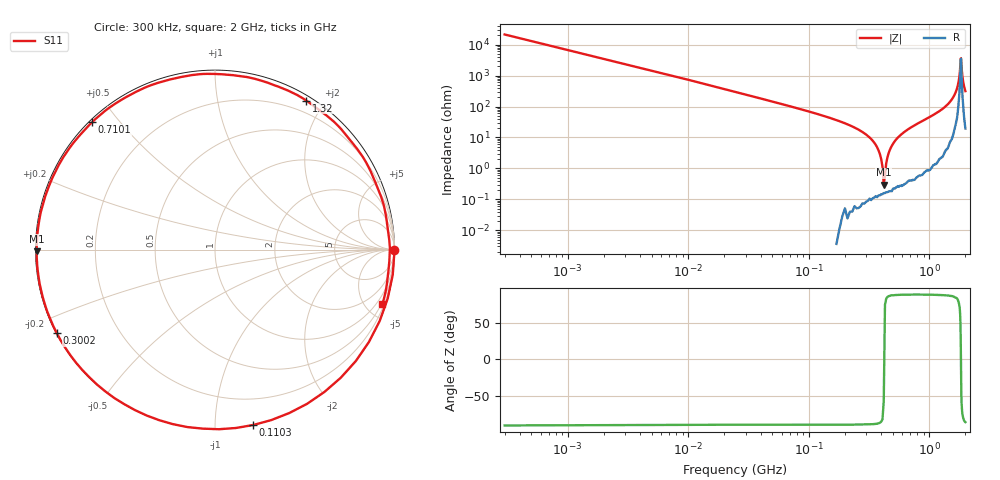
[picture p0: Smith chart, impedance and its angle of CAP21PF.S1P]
!Agilent Technologies,E5071C,MY46520295,B.13.20
!Date: Fri Feb 09 07:29:20 2024
!Data & Calibration Information:
!Freq	S11:SOLT2(ON)
!PortZ  Port1:50+j0
!Above PortZ is port z conversion or system Z0 setting when saving the data.
!When reading, reference impedance value at option line is always used.
# Hz S RI R 50
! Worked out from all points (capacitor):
!   201 points, 300 kHz to 2 GHz, reference 50 ohm
!   read as one part to ground: C = 21.7 pF near 10.3 MHz
!   lowest |Z| = 300 mohm at 420.2 MHz (marker M1)
!   series resonance near 423.2 MHz, so ESL is about 6.5 nH
!   S11 on the Smith chart (normalised r, x): 300 kHz: open; 110.3 MHz: -0.00, -1.24; 300.2 MHz: 0.00, -0.25; 710.1 MHz: 0.01, +0.43; 1.32 GHz: 0.06, +1.79; 2 GHz: 0.39, -6.26
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300000  1 -0.0047
1.0297e7  0.9903 -0.1399
3.0291e7  0.9174 -0.3981
6.0282e7  0.7011 -0.7136
8.0276e7  0.5131 -0.8592
1.10267e8  0.2133 -0.9771
1.40258e8  -0.0686 -0.9974
1.80246e8  -0.3803 -0.9245
2.10237e8  -0.5607 -0.8271
2.50225e8  -0.7395 -0.6705
3.0021e8  -0.882 -0.4646
3.60192e8  -0.9686 -0.2277
4.20174e8  -0.9936 -0.0101
5.0015e8  -0.962 0.2398
6.10117e8  -0.8431 0.518
7.10087e8  -0.6841 0.7105
7.50075e8  -0.6138 0.772
8.70039e8  -0.3793 0.9072
1e9  -0.1102 0.9745
1.139958e9  0.177 0.9616
1.249925e9  0.3875 0.8935
1.319904e9  0.5096 0.8297
1.419874e9  0.664 0.7114
1.49985e9  0.7662 0.5937
1.629811e9  0.8916 0.3795
1.749775e9  0.9565 0.1608
1.859742e9  0.973 -0.0451
1.9997e9  0.9324 -0.3047
